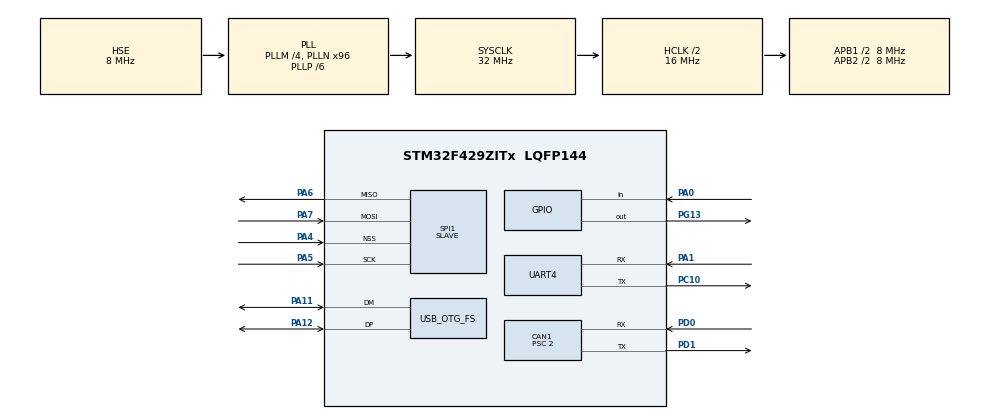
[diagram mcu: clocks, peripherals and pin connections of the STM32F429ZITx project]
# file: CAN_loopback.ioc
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CAN1.BS1=CAN_BS1_13TQ
CAN1.BS2=CAN_BS2_2TQ
CAN1.CalculateTimeQuantum=250.0
CAN1.Mode=CAN_MODE_SILENT_LOOPBACK
CAN1.NART=ENABLE
CAN1.Prescaler=2
Mcu.Family=STM32F4
Mcu.Name=STM32F429ZITx
Mcu.Package=LQFP144
NVIC.CAN1_RX0_IRQn=true\:0\:0\:false\:false\:true\:true\:true
NVIC.OTG_FS_IRQn=true\:0\:0\:false\:false\:true\:false\:true
NVIC.PriorityGroup=NVIC_PRIORITYGROUP_4
NVIC.SPI1_IRQn=true\:0\:0\:false\:false\:true\:true\:true
PA0/WKUP.Signal=GPIO_Input
PA1.Mode=Asynchronous
PA1.Signal=UART4_RX
PA11.Mode=Device_Only
PA11.Signal=USB_OTG_FS_DM
PA12.Mode=Device_Only
PA12.Signal=USB_OTG_FS_DP
PA13.Mode=Serial_Wire
PA13.Signal=SYS_JTMS-SWDIO
PA14.Mode=Serial_Wire
PA14.Signal=SYS_JTCK-SWCLK
PA4.Mode=NSS_Signal_Hard_Input
PA4.Signal=SPI1_NSS
PA5.Mode=Full_Duplex_Slave
PA5.Signal=SPI1_SCK
PA6.Mode=Full_Duplex_Slave
PA6.Signal=SPI1_MISO
PA7.Mode=Full_Duplex_Slave
PA7.Signal=SPI1_MOSI
PC10.Mode=Asynchronous
PC10.Signal=UART4_TX
PD0.Mode=Master
PD0.Signal=CAN1_RX
PD1.Mode=Master
PD1.Signal=CAN1_TX
PG13.Signal=GPIO_Output
PH0/OSC_IN.Mode=HSE-External-Oscillator
PH0/OSC_IN.Signal=RCC_OSC_IN
PH1/OSC_OUT.Mode=HSE-External-Oscillator
PH1/OSC_OUT.Signal=RCC_OSC_OUT
ProjectManager.HeapSize=0x400
ProjectManager.StackSize=0x400
ProjectManager.TargetToolchain=MDK-ARM V5
RCC.48MHZClocksFreq_Value=48000000
RCC.AHBCLKDivider=RCC_SYSCLK_DIV2
RCC.AHBFreq_Value=16000000
RCC.APB1CLKDivider=RCC_HCLK_DIV2
RCC.APB1Freq_Value=8000000
RCC.APB1TimFreq_Value=16000000
RCC.APB2CLKDivider=RCC_HCLK_DIV2
RCC.APB2Freq_Value=8000000
RCC.APB2TimFreq_Value=16000000
RCC.CortexFreq_Value=16000000
RCC.HCLKFreq_Value=16000000
RCC.HSE_VALUE=8000000
RCC.HSI_VALUE=16000000
RCC.LSE_VALUE=32768
RCC.PLLM=4
RCC.PLLN=96
RCC.PLLP=RCC_PLLP_DIV6
RCC.SYSCLKFreq_VALUE=32000000
RCC.SYSCLKSource=RCC_SYSCLKSOURCE_PLLCLK
RCC.VCOOutputFreq_Value=192000000
SPI1.CLKPhase=SPI_PHASE_1EDGE
SPI1.CLKPolarity=SPI_POLARITY_LOW
SPI1.Direction=SPI_DIRECTION_2LINES
SPI1.FirstBit=SPI_FIRSTBIT_LSB
SPI1.Mode=SPI_MODE_SLAVE
SPI1.VirtualNSS=VM_NSSHARD
SPI1.VirtualType=VM_SLAVE
UART4.VirtualMode=Asynchronous
USB_DEVICE.CLASS_NAME_FS=CDC
USB_DEVICE.VirtualMode-CDC_FS=Cdc
USB_DEVICE.VirtualModeFS=Cdc_FS
USB_OTG_FS.VirtualMode=Device_Only
VP_CRC_VS_CRC.Mode=CRC_Activate
VP_USB_DEVICE_VS_USB_DEVICE_CDC_FS.Mode=CDC_FS
board=custom

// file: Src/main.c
/* USER CODE BEGIN Header */
/**
  ******************************************************************************
  * @file           : main.c
  * @brief          : Main program body
  ******************************************************************************
  * @attention
  *
  * <h2><center>&copy; Copyright (c) 2019 STMicroelectronics.
  * All rights reserved.</center></h2>
  *
  * This software component is licensed by ST under BSD 3-Clause license,
  * the "License"; You may not use this file except in compliance with the
  * License. You may obtain a copy of the License at:
  *                        opensource.org/licenses/BSD-3-Clause
  *
  ******************************************************************************
  */
/* USER CODE END Header */

#include "main.h"
#include "usb_device.h"

/* USER CODE BEGIN Includes */
#include "usbd_cdc_if.h"
/* USER CODE END Includes */

CAN_HandleTypeDef hcan1;

CRC_HandleTypeDef hcrc;

SPI_HandleTypeDef hspi1;

UART_HandleTypeDef huart4;

/* USER CODE BEGIN PV */
uint8_t str_Tx[24] = {0};
uint8_t str_Rx[24] = {0};
uint8_t CAN_buf[8] = {0};
uint8_t SPI_str_Rx[24] = {0};
int flag = 0;
int USB_flag = 0;
int CAN_flag = 0;
int count = 0;
int End_receive = 0;
CAN_FilterTypeDef sFilterConfig;
CAN_RxHeaderTypeDef RxHeader;
/* USER CODE END PV */

void SystemClock_Config(void);
static void MX_GPIO_Init(void);
static void MX_CAN1_Init(void);
static void MX_CRC_Init(void);
static void MX_SPI1_Init(void);
static void MX_UART4_Init(void);
/* USER CODE BEGIN PFP */
void CAN1_Tx(void);
void MK_Processing(uint8_t *s); // Перевод в префиксный код
/* USER CODE END PFP */

/* USER CODE BEGIN 0 */
void HAL_SPI_RxCpltCallback(SPI_HandleTypeDef *hspi)
{
	if (hspi == &hspi1)
	{
		if (hspi1.RxXferCount == 0)
		{
			flag = 1;
		}
	}
}
void HAL_CAN_RxFifo0MsgPendingCallback(CAN_HandleTypeDef *hcan)
{
	HAL_CAN_GetRxMessage(&hcan1, CAN_RX_FIFO0, &RxHeader, CAN_buf);
	HAL_CAN_DeactivateNotification(&hcan1, CAN_IT_RX_FIFO0_MSG_PENDING);
	for (int i = 0; i < 8; i++)
	{
		str_Rx[count] = CAN_buf[i];
		count++;
	}
	if (count == 24)
	{
		CAN_flag = 1;
		count = 0;
	}
	End_receive = 1;
}
/* USER CODE END 0 */

int main(void)
{
  /* USER CODE BEGIN 1 */
	uint32_t Rx_Message_CRC[6] = {0};
	uint32_t Tx_Message_CRC[5] = {0};
	uint32_t CRC_Rx;
	uint32_t CRC_Tx;
  /* USER CODE END 1 */

  /* MCU Configuration--------------------------------------------------------*/

  /* Reset of all peripherals, Initializes the Flash interface and the Systick. */
  HAL_Init();

  /* Configure the system clock */
  SystemClock_Config();

  /* Initialize all configured peripherals */
  MX_GPIO_Init();
  MX_CAN1_Init();
  MX_CRC_Init();
  MX_SPI1_Init();
  MX_USB_DEVICE_Init();
  MX_UART4_Init();
  /* USER CODE BEGIN 2 */
	// Настройка фильтра приема
	sFilterConfig.FilterBank = 0; // Выбор банка (всего банков 14)
	sFilterConfig.FilterFIFOAssignment = CAN_FILTER_FIFO0; // Привязка буфера на прием
	sFilterConfig.FilterIdHigh = 0x245<<5; // Максимальный ID сообщения в списке
	sFilterConfig.FilterIdLow = 0x0000; // Минимальный ID сообщения в списке
	sFilterConfig.FilterMaskIdHigh = 0x0000; // Максимальная битовая маска для ID, аналогично ethernet
	sFilterConfig.FilterMaskIdLow = 0x0000; // Минимальная битовая маска для ID
	sFilterConfig.FilterScale = CAN_FILTERSCALE_32BIT; // Формат фильтра
	sFilterConfig.FilterActivation = CAN_FILTER_ENABLE; // Разрешаем работу фильтра

	HAL_CAN_ConfigFilter(&hcan1, &sFilterConfig); // Применение настройки фильтра для CAN1

	HAL_CAN_Start(&hcan1);
	HAL_CAN_ActivateNotification(&hcan1, CAN_IT_RX_FIFO0_MSG_PENDING);

  /* USER CODE END 2 */

  /* Infinite loop */
  /* USER CODE BEGIN WHILE */
  while (1)
  {
		HAL_SPI_Receive_IT(&hspi1, SPI_str_Rx, 24);
		if (flag == 1)
		{
			CAN1_Tx(); // Передача по CAN
			flag = 0;
		}
		if (HAL_GPIO_ReadPin(GPIOA, GPIO_PIN_0) == 1 && CAN_flag == 1)
			{
				HAL_Delay(500);
				if (HAL_GPIO_ReadPin(GPIOA, GPIO_PIN_0) == 0)
				{
					CDC_Transmit_FS(str_Rx, 24);
				}
			}

		HAL_CAN_GetRxMessage(&hcan1, CAN_RX_FIFO0, &RxHeader, str_Rx); // Прием по CAN
		if (CAN_flag == 1)
		{
			// Подготовка к вычислению контрольной суммы принятого собщения
				for (int i = 0, j = 0; i < 6; i++, j+=4)
						{
							Rx_Message_CRC[i] = str_Rx[j+3] | (str_Rx[j+2] << 8) | (str_Rx[j+1] << 16) | (str_Rx[j] << 24);
						}

				CRC_Rx = HAL_CRC_Calculate(&hcrc, Rx_Message_CRC, 6); // Вычисление CRC принимаемого сообщения

				if (CRC_Rx == 0) // Если CRC(data+CRC) == 0, то ошибок при передаче не было
				{
						// Успешный прием
						HAL_GPIO_TogglePin(GPIOG, GPIO_PIN_13);
						HAL_Delay(2000);
						HAL_GPIO_TogglePin(GPIOG, GPIO_PIN_13);
						/*
							МК	Обработка
						*/
						for (int i = 0; i < 20; i++)
						str_Tx[i] = str_Rx[i];

						MK_Processing(str_Tx);

						for (int i = 0, j = 0; i < 5; i++, j+=4)
						{
							Tx_Message_CRC[i] = str_Tx[j+3] | (str_Tx[j+2] << 8) | (str_Tx[j+1] << 16) | (str_Tx[j] << 24);
						}

						// Формируем новое сообщение с новым CRC
						CRC_Tx = HAL_CRC_Calculate(&hcrc, Tx_Message_CRC, 5);
						for (int i = 20, j = 24; i < 24 ; i++, j-=8)
						str_Tx[i] = (uint8_t)( CRC_Tx >> j);
						HAL_UART_Transmit(&huart4, str_Tx, 24, 1500);
				}
				else
				{
					for (int i = 0; i < 10; i++)
					{
						HAL_GPIO_TogglePin(GPIOG, GPIO_PIN_13);
						HAL_Delay(500);
					}
				}
				CAN_flag = 0;
		}
		HAL_Delay(100);
    /* USER CODE END WHILE */

  }
}

void SystemClock_Config(void)
{
  RCC_OscInitTypeDef RCC_OscInitStruct = {0};
  RCC_ClkInitTypeDef RCC_ClkInitStruct = {0};

  /** Configure the main internal regulator output voltage
  */
  __HAL_RCC_PWR_CLK_ENABLE();
  __HAL_PWR_VOLTAGESCALING_CONFIG(PWR_REGULATOR_VOLTAGE_SCALE3);
  /** Initializes the CPU, AHB and APB busses clocks
  */
  RCC_OscInitStruct.OscillatorType = RCC_OSCILLATORTYPE_HSE;
  RCC_OscInitStruct.HSEState = RCC_HSE_ON;
  RCC_OscInitStruct.PLL.PLLState = RCC_PLL_ON;
  RCC_OscInitStruct.PLL.PLLSource = RCC_PLLSOURCE_HSE;
  RCC_OscInitStruct.PLL.PLLM = 4;
  RCC_OscInitStruct.PLL.PLLN = 96;
  RCC_OscInitStruct.PLL.PLLP = RCC_PLLP_DIV6;
  RCC_OscInitStruct.PLL.PLLQ = 4;
  if (HAL_RCC_OscConfig(&RCC_OscInitStruct) != HAL_OK)
  {
    Error_Handler();
  }
  /** Initializes the CPU, AHB and APB busses clocks
  */
  RCC_ClkInitStruct.ClockType = RCC_CLOCKTYPE_HCLK|RCC_CLOCKTYPE_SYSCLK
                              |RCC_CLOCKTYPE_PCLK1|RCC_CLOCKTYPE_PCLK2;
  RCC_ClkInitStruct.SYSCLKSource = RCC_SYSCLKSOURCE_PLLCLK;
  RCC_ClkInitStruct.AHBCLKDivider = RCC_SYSCLK_DIV2;
  RCC_ClkInitStruct.APB1CLKDivider = RCC_HCLK_DIV2;
  RCC_ClkInitStruct.APB2CLKDivider = RCC_HCLK_DIV2;

  if (HAL_RCC_ClockConfig(&RCC_ClkInitStruct, FLASH_LATENCY_0) != HAL_OK)
  {
    Error_Handler();
  }
}

static void MX_CAN1_Init(void)
{

  hcan1.Instance = CAN1;
  hcan1.Init.Prescaler = 2;
  hcan1.Init.Mode = CAN_MODE_SILENT_LOOPBACK;
  hcan1.Init.SyncJumpWidth = CAN_SJW_1TQ;
  hcan1.Init.TimeSeg1 = CAN_BS1_13TQ;
  hcan1.Init.TimeSeg2 = CAN_BS2_2TQ;
  hcan1.Init.TimeTriggeredMode = DISABLE;
  hcan1.Init.AutoBusOff = DISABLE;
  hcan1.Init.AutoWakeUp = DISABLE;
  hcan1.Init.AutoRetransmission = ENABLE;
  hcan1.Init.ReceiveFifoLocked = DISABLE;
  hcan1.Init.TransmitFifoPriority = DISABLE;
  if (HAL_CAN_Init(&hcan1) != HAL_OK)
  {
    Error_Handler();
  }

}

static void MX_CRC_Init(void)
{

  hcrc.Instance = CRC;
  if (HAL_CRC_Init(&hcrc) != HAL_OK)
  {
    Error_Handler();
  }

}

static void MX_SPI1_Init(void)
{

  /* SPI1 parameter configuration*/
  hspi1.Instance = SPI1;
  hspi1.Init.Mode = SPI_MODE_SLAVE;
  hspi1.Init.Direction = SPI_DIRECTION_2LINES;
  hspi1.Init.DataSize = SPI_DATASIZE_8BIT;
  hspi1.Init.CLKPolarity = SPI_POLARITY_LOW;
  hspi1.Init.CLKPhase = SPI_PHASE_1EDGE;
  hspi1.Init.NSS = SPI_NSS_HARD_INPUT;
  hspi1.Init.FirstBit = SPI_FIRSTBIT_LSB;
  hspi1.Init.TIMode = SPI_TIMODE_DISABLE;
  hspi1.Init.CRCCalculation = SPI_CRCCALCULATION_DISABLE;
  hspi1.Init.CRCPolynomial = 10;
  if (HAL_SPI_Init(&hspi1) != HAL_OK)
  {
    Error_Handler();
  }

}

static void MX_UART4_Init(void)
{

  huart4.Instance = UART4;
  huart4.Init.BaudRate = 115200;
  huart4.Init.WordLength = UART_WORDLENGTH_8B;
  huart4.Init.StopBits = UART_STOPBITS_1;
  huart4.Init.Parity = UART_PARITY_NONE;
  huart4.Init.Mode = UART_MODE_TX_RX;
  huart4.Init.HwFlowCtl = UART_HWCONTROL_NONE;
  huart4.Init.OverSampling = UART_OVERSAMPLING_16;
  if (HAL_UART_Init(&huart4) != HAL_OK)
  {
    Error_Handler();
  }

}

static void MX_GPIO_Init(void)
{
  GPIO_InitTypeDef GPIO_InitStruct = {0};

  /* GPIO Ports Clock Enable */
  __HAL_RCC_GPIOH_CLK_ENABLE();
  __HAL_RCC_GPIOA_CLK_ENABLE();
  __HAL_RCC_GPIOC_CLK_ENABLE();
  __HAL_RCC_GPIOD_CLK_ENABLE();
  __HAL_RCC_GPIOG_CLK_ENABLE();

  /*Configure GPIO pin Output Level */
  HAL_GPIO_WritePin(GPIOG, GPIO_PIN_13, GPIO_PIN_RESET);

  /*Configure GPIO pin : PA0 */
  GPIO_InitStruct.Pin = GPIO_PIN_0;
  GPIO_InitStruct.Mode = GPIO_MODE_INPUT;
  GPIO_InitStruct.Pull = GPIO_NOPULL;
  HAL_GPIO_Init(GPIOA, &GPIO_InitStruct);

  /*Configure GPIO pin : PG13 */
  GPIO_InitStruct.Pin = GPIO_PIN_13;
  GPIO_InitStruct.Mode = GPIO_MODE_OUTPUT_PP;
  GPIO_InitStruct.Pull = GPIO_NOPULL;
  GPIO_InitStruct.Speed = GPIO_SPEED_FREQ_LOW;
  HAL_GPIO_Init(GPIOG, &GPIO_InitStruct);

}

/* USER CODE BEGIN 4 */
void MK_Processing(uint8_t *s)
{
	uint8_t buf = 0;
	int i = 19;
	while (s[i] >= '0' && s[i] <= '9')
	{
		buf = s[i];
		for (int j = 19; j > 0; j--)
		s[j] = s[j-1];
		s[0] = buf;
	}
}
void CAN1_Tx(void)
{
	CAN_TxHeaderTypeDef TxHeader;

	//uint8_t StrTransmit[5] = {"HELLO"};

	uint32_t TxMailBox;
	uint8_t buf[8] = {0};
	int k = 8;

	memcpy(buf, SPI_str_Rx, 8);
	TxHeader.DLC = 8;
	TxHeader.StdId = 0x001;
	TxHeader.IDE = CAN_ID_STD;
	TxHeader.RTR = CAN_RTR_DATA;

	for (int i = 0; i < 3; i++)
	{
		if (HAL_CAN_AddTxMessage(&hcan1, &TxHeader, buf, &TxMailBox) != HAL_OK)
		{
			Error_Handler();
		}
		while (End_receive != 1)
		HAL_Delay(100);
		HAL_CAN_ActivateNotification(&hcan1, CAN_IT_RX_FIFO0_MSG_PENDING);
		for (int i = 0; i < 8 ; i++)
		{
			buf[i] = SPI_str_Rx[k];
			k++;
		}
		End_receive = 0;
	}
}
/* USER CODE END 4 */

void Error_Handler(void)
{
}

/************************ (C) COPYRIGHT STMicroelectronics *****END OF FILE****/
